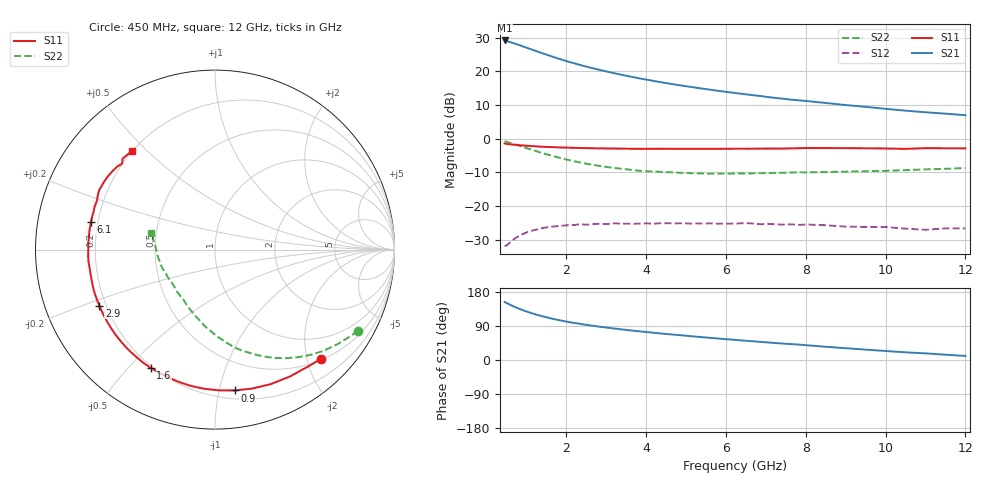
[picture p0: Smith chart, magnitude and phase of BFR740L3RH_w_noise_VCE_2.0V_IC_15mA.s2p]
! (c) 2012  Infineon Technologies AG, Munich
! Infineon Technologies  Discrete & RF Semiconductors
! BFR740L3RH
! VCE =  2.0 V,  IC =  15 mA
! Common Emitter S-Parameters:  May 2012
# GHz  S  MA  R  50
!  f  S11  S21  S12  S22
! GHz  MAG  ANG  MAG  ANG  MAG  ANG  MAG  ANG
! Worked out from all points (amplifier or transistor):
!   85 points, 450 MHz to 12 GHz, reference 50 ohm
!   highest |S21| = 29.1 dB at 450 MHz (marker M1)
!   |S21| within 3 dB of that: start of sweep to 1.206 GHz
!   unconditionally stable (mu >= 1): 7.182 GHz to end of sweep
!   at 1.8 GHz: K = 0.23, MSG = 24.8 dB, |S12| = -25.9 dB
!   at 4.6 GHz: K = 0.61, MSG = 20.7 dB, |S12| = -25.1 dB
!   at 12 GHz: K = 2.09, MAG = 10.9 dB, |S12| = -26.6 dB
!   lowest NFmin = 0.72 dB at 450 MHz
!   S11 on the Smith chart (normalised r, x): 450 MHz: 0.52, -2.27; 900 MHz: 0.26, -1.11; 1.6 GHz: 0.19, -0.58; 2.9 GHz: 0.17, -0.22; 6.1 GHz: 0.17, +0.11; 12 GHz: 0.20, +0.45
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0.45  0.8481 -45.8  28.61 153.2  0.0254 70.6  0.9173 -29.6
0.6  0.8213 -59.3  26.93 145.2  0.0291 59.4  0.8609 -37.9
0.7  0.8114 -67.5  25.79 140.3  0.0329 54.7  0.826 -43.1
0.8  0.8013 -75.1  24.61 135.9  0.0357 50.2  0.7904 -48.0
0.9  0.7925 -82.1  23.46 131.8  0.0383 46.4  0.7559 -52.5
1.1  0.7775 -94.6  21.31 124.5  0.0426 41.7  0.6933 -60.6
1.3  0.7644 -105.3  19.35 118.1  0.0455 37.6  0.6359 -67.8
1.4  0.7581 -110.0  18.46 115.3  0.0471 35.6  0.6104 -71.0
1.6  0.7505 -118.5  16.86 110.2  0.0492 31.9  0.5659 -77.3
1.8  0.7414 -126.2  15.39 105.5  0.0505 29.0  0.525 -82.6
2  0.7356 -132.8  14.16 101.3  0.0519 26.1  0.4901 -87.6
2.4  0.7254 -143.4  12.12 94.4  0.0535 22.4  0.437 -96.4
2.9  0.7162 -154.2  10.25 87.0  0.0542 19.1  0.3888 -105.7
3.6  0.7081 -166.0  8.326 78.2  0.0547 14.6  0.3458 -117.3
4.3  0.7079 -174.7  6.98 70.7  0.0553 12.9  0.3231 -126.4
5.2  0.7059 175.3  5.752 62.1  0.0552 10.0  0.3061 -138.1
6.1  0.7081 167.3  4.864 54.2  0.0547 7.8  0.3038 -148.2
6.3  0.7084 165.6  4.698 52.4  0.0552 7.9  0.3045 -150.3
7.2  0.7119 158.6  4.042 45.1  0.0537 7.3  0.3096 -159.8
8.5  0.7245 148.8  3.382 34.9  0.0519 5.2  0.3197 -172.3
10.5  0.705 137.3  2.6 20.2  0.0462 7.3  0.3412 173.6
12  0.7185 130.3  2.226 10.7  0.0466 18.8  0.3664 165.1
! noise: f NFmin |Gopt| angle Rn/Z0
0.45  0.72  0.11  6  0.11
0.9  0.73  0.11  24  0.11
1.5  0.75  0.13  46  0.1
1.9  0.76  0.15  59  0.1
2.4  0.78  0.16  69  0.1
3.5  0.84  0.18  90  0.1
5.5  0.99  0.22  120  0.09
8  1.21  0.28  155  0.08
10  1.39  0.32  -176  0.07
12  1.57  0.35  -150  0.09
